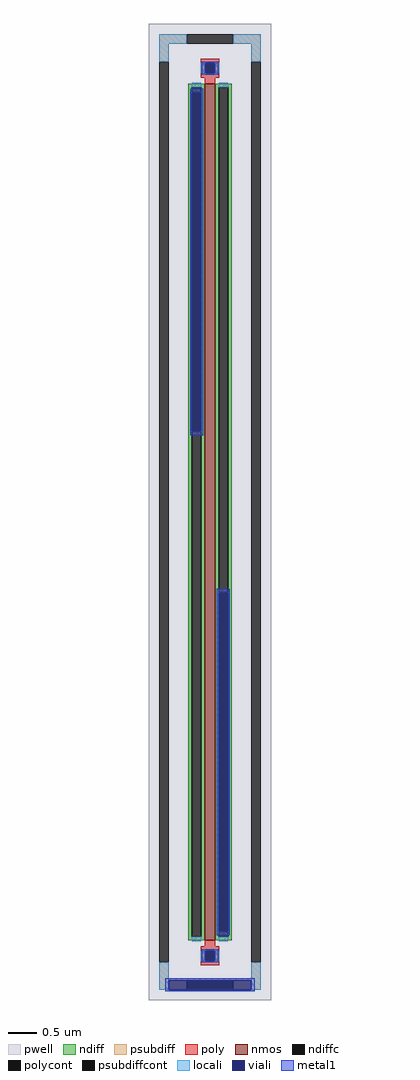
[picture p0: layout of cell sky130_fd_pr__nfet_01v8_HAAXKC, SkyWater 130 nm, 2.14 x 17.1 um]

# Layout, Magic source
magic
tech sky130A
magscale 1 2
<< pwell >>
rect -214 -1710 214 1710
<< nmos >>
rect -18 -1500 18 1500
<< ndiff >>
rect -76 1488 -18 1500
rect -76 -1488 -64 1488
rect -30 -1488 -18 1488
rect -76 -1500 -18 -1488
rect 18 1488 76 1500
rect 18 -1488 30 1488
rect 64 -1488 76 1488
rect 18 -1500 76 -1488
<< ndiffc >>
rect -64 -1488 -30 1488
rect 30 -1488 64 1488
<< psubdiff >>
rect -178 1640 -82 1674
rect 82 1640 178 1674
rect -178 1578 -144 1640
rect 144 1578 178 1640
rect -178 -1640 -144 -1578
rect 144 -1640 178 -1578
rect -178 -1674 -82 -1640
rect 82 -1674 178 -1640
<< psubdiffcont >>
rect -82 1640 82 1674
rect -178 -1578 -144 1578
rect 144 -1578 178 1578
rect -82 -1674 82 -1640
<< poly >>
rect -33 1572 33 1588
rect -33 1538 -17 1572
rect 17 1538 33 1572
rect -33 1522 33 1538
rect -18 1500 18 1522
rect -18 -1522 18 -1500
rect -33 -1538 33 -1522
rect -33 -1572 -17 -1538
rect 17 -1572 33 -1538
rect -33 -1588 33 -1572
<< polycont >>
rect -17 1538 17 1572
rect -17 -1572 17 -1538
<< locali >>
rect -178 1640 -82 1674
rect 82 1640 178 1674
rect -178 1578 -144 1640
rect 144 1578 178 1640
rect -33 1538 -17 1572
rect 17 1538 33 1572
rect -64 1488 -30 1504
rect -64 -1504 -30 -1488
rect 30 1488 64 1504
rect 30 -1504 64 -1488
rect -33 -1572 -17 -1538
rect 17 -1572 33 -1538
rect -178 -1674 -144 -1578
rect 144 -1674 178 -1578
<< viali >>
rect -17 1538 17 1572
rect -64 281 -30 1471
rect 30 -1471 64 -281
rect -17 -1572 17 -1538
rect -144 -1674 -82 -1640
rect -82 -1674 82 -1640
rect 82 -1674 144 -1640
<< metal1 >>
rect -29 1572 29 1578
rect -29 1538 -17 1572
rect 17 1538 29 1572
rect -29 1532 29 1538
rect -70 1471 -24 1483
rect -70 281 -64 1471
rect -30 281 -24 1471
rect -70 269 -24 281
rect 24 -281 70 -269
rect 24 -1471 30 -281
rect 64 -1471 70 -281
rect 24 -1483 70 -1471
rect -29 -1538 29 -1532
rect -29 -1572 -17 -1538
rect 17 -1572 29 -1538
rect -29 -1578 29 -1572
rect -156 -1640 156 -1634
rect -156 -1674 -144 -1640
rect 144 -1674 156 -1640
rect -156 -1680 156 -1674
<< properties >>
string FIXED_BBOX -161 -1657 161 1657
string gencell sky130_fd_pr__nfet_01v8
string library sky130
string parameters w 15.0 l 0.18 m 1 nf 1 diffcov 100 polycov 100 guard 1 glc 1 grc 1 gtc 1 gbc 1 tbcov 100 rlcov 100 topc 1 botc 1 poverlap 0 doverlap 1 lmin 0.15 wmin 0.42 compatible {sky130_fd_pr__nfet_01v8 sky130_fd_pr__nfet_01v8_lvt  sky130_fd_bs_flash__special_sonosfet_star  sky130_fd_pr__nfet_g5v0d10v5 sky130_fd_pr__nfet_05v0_nvt  sky130_fd_pr__nfet_03v3_nvt} full_metal 1 viasrc +40 viadrn -40 viagate 100 viagb 100 viagr 0 viagl 0 viagt 0
<< end >>
